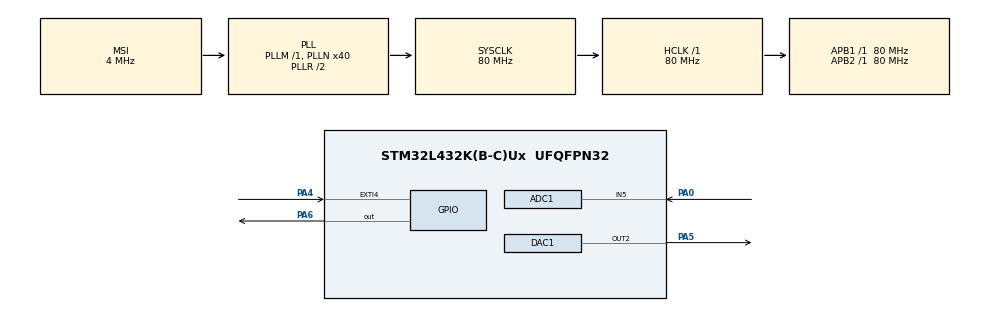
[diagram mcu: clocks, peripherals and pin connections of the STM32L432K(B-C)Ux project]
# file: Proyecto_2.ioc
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ADC1.Channel-1\#ChannelRegularConversion=ADC_CHANNEL_5
ADC1.NbrOfConversionFlag=1
ADC1.OffsetNumber-1\#ChannelRegularConversion=ADC_OFFSET_NONE
ADC1.Rank-1\#ChannelRegularConversion=1
ADC1.SamplingTime-1\#ChannelRegularConversion=ADC_SAMPLETIME_2CYCLES_5
ADC1.master=1
DAC1.DAC_Channel-DAC_OUT2=DAC_CHANNEL_2
Mcu.Family=STM32L4
Mcu.Name=STM32L432K(B-C)Ux
Mcu.Package=UFQFPN32
NVIC.EXTI4_IRQn=true\:0\:0\:false\:false\:true\:true\:true\:true
NVIC.PriorityGroup=NVIC_PRIORITYGROUP_4
NVIC.TIM1_UP_TIM16_IRQn=true\:0\:0\:false\:false\:true\:true\:true\:true
PA0.Signal=ADCx_IN5
PA4.GPIO_ModeDefaultEXTI=GPIO_MODE_IT_RISING_FALLING
PA4.GPIO_PuPd=GPIO_PULLDOWN
PA4.Signal=GPXTI4
PA5.Signal=COMP_DAC12_group
PA6.Signal=GPIO_Output
ProjectManager.HeapSize=0x200
ProjectManager.StackSize=0x400
ProjectManager.TargetToolchain=STM32CubeIDE
RCC.ADCFreq_Value=32000000
RCC.AHBFreq_Value=80000000
RCC.APB1Freq_Value=80000000
RCC.APB1TimFreq_Value=80000000
RCC.APB2Freq_Value=80000000
RCC.APB2TimFreq_Value=80000000
RCC.CortexFreq_Value=80000000
RCC.HCLKFreq_Value=80000000
RCC.HSE_VALUE=8000000
RCC.HSI48_VALUE=48000000
RCC.HSI_VALUE=16000000
RCC.LSE_VALUE=32768
RCC.MSI_VALUE=4000000
RCC.PLLN=40
RCC.PLLSAI1N=16
RCC.SYSCLKFreq_VALUE=80000000
RCC.SYSCLKSource=RCC_SYSCLKSOURCE_PLLCLK
RCC.USBFreq_Value=32000000
RCC.VCOOutputFreq_Value=160000000
SH.ADCx_IN5.0=ADC1_IN5,IN5-Single-Ended
SH.COMP_DAC12_group.0=DAC1_OUT2,DAC_OUT2
TIM1.Period=2000-1
TIM1.Prescaler=80-1
VP_TIM1_VS_ClockSourceINT.Mode=Internal
board=custom

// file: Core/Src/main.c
/* USER CODE BEGIN Header */
/**
  ******************************************************************************
  * @file           : main.c
  * @brief          : Main program body
  ******************************************************************************
  * @attention
  *
  * Copyright (c) 2024 STMicroelectronics.
  * All rights reserved.
  *
  * This software is licensed under terms that can be found in the LICENSE file
  * in the root directory of this software component.
  * If no LICENSE file comes with this software, it is provided AS-IS.
  *
  ******************************************************************************
  */
/* USER CODE END Header */
#include "main.h"

/* USER CODE BEGIN PTD */

typedef enum
{
	attack,
	decay,
	sustain,
	release,
	off
}etapas_t;

/* USER CODE END PTD */

ADC_HandleTypeDef hadc1;

DAC_HandleTypeDef hdac1;

TIM_HandleTypeDef htim1;

/* USER CODE BEGIN PV */

int var = 0;

etapas_t etapas = off;

float t_a = 1;
float t_d = 1;
float v_s = 1.5;
float t_r = 1;

float b_a = 0;
float b_d = 0;
float b_r = 0;

int Gate = 0;

float x = 0;
float y = 0;

float env = 0;
float aux = 0;
int flag = 0;

/* USER CODE END PV */

void SystemClock_Config(void);
static void MX_GPIO_Init(void);
static void MX_ADC1_Init(void);
static void MX_DAC1_Init(void);
static void MX_TIM1_Init(void);
/* USER CODE BEGIN PFP */
float generador_rectas(float, float, char);
/* USER CODE END PFP */

int main(void)
{

  /* MCU Configuration--------------------------------------------------------*/

  /* Reset of all peripherals, Initializes the Flash interface and the Systick. */
  HAL_Init();

  /* Configure the system clock */
  SystemClock_Config();

  /* Initialize all configured peripherals */
  MX_GPIO_Init();
  MX_ADC1_Init();
  MX_DAC1_Init();
  MX_TIM1_Init();
  /* USER CODE BEGIN 2 */

  //HAL_GPIO_EXTI_Callback(GPIO_PIN_4);

  	HAL_DAC_Start(&hdac1, DAC_CHANNEL_2);
  	HAL_TIM_Base_Start_IT(&htim1);

  /* USER CODE END 2 */

  /* Infinite loop */
  while (1)
  {

    /* USER CODE BEGIN 3 */

	  /*HAL_ADC_Start(&hadc1); // Inicia la conversión ADC
	  HAL_ADC_PollForConversion(&hadc1, HAL_MAX_DELAY); // Espera la conversión
	  var = HAL_ADC_GetValue(&hadc1); // Lee el valor convertido
	  HAL_ADC_Stop(&hadc1); // Detiene la conversión*/

	  switch(etapas)
	  {
	  	  case attack:

	  		  float tau_a = 1/((2.2e-6)*400e3);

	  		  if(flag == 1)
	  		  {
	  			  env = generador_rectas(tau_a, 0, 'a');
	  			  flag = 0;
	  			  HAL_DAC_SetValue(&hdac1, DAC_CHANNEL_2, DAC_ALIGN_12B_R, env*4095/3.3);
	  		  }

	  		  if(env >= 3.3)
	  		  {
	  			  etapas = decay;
	  			  x = 0;
	  			  aux = env;
	  		  }
	  		  else
	  		  {
	  			  etapas = attack;
	  		  }

	  		  break;
	  	  case decay:

	  		  float tau_d = 1/((2.2e-6)*400e3);

	  		  if(flag == 1)
	  		  {
	  			  env = generador_rectas(tau_d, aux ,'d');
	  			  flag = 0;
	  			  HAL_DAC_SetValue(&hdac1, DAC_CHANNEL_2, DAC_ALIGN_12B_R, env*4095/3.3);
	  		  }

	  		  if(env <= v_s)
	  		  {
	  			  etapas = sustain;
	  			  x = 0;
	  		  }
	  		  else
	  		  {
	  			  etapas = decay;
	  		  }

	  		  break;
	  	  case sustain:

	  		  HAL_DAC_SetValue(&hdac1, DAC_CHANNEL_2, DAC_ALIGN_12B_R, env*4095/3.3);

	  		  if(Gate == 0)
	  		  {
	  			  etapas = release;
	  			  x = 0;
	  		  }
	  		  else
	  		  {
	  			etapas = sustain;
	  		  }

	  		  break;
	  	  case release:

	  		  float tau_r = 1/((2.2e-6)*800e3);

	  		  if(flag == 1)
	  		  {
	  			  env = generador_rectas(tau_r, v_s, 'r');
	  			  flag = 0;
	  			  HAL_DAC_SetValue(&hdac1, DAC_CHANNEL_2, DAC_ALIGN_12B_R, env*4095/3.3);
	  		  }

	  		  if(env <= 0.005)
	  		  {
	  			  etapas = off;
	  			  x = 0;
	  		  }
	  		  else
	  		  {
	  			  etapas = release;
	  		  }

	  		  break;
	  	  case off:

	  		  if(Gate == 1)
	  		  {
	  			  etapas = attack;
	  			  x = 0;
	  		  }
	  		  else
	  		  {
	  			  etapas = off;
	  		  }

	  		  break;
	  }

  }
  /* USER CODE END 3 */
}

void SystemClock_Config(void)
{
  RCC_OscInitTypeDef RCC_OscInitStruct = {0};
  RCC_ClkInitTypeDef RCC_ClkInitStruct = {0};

  /** Configure the main internal regulator output voltage
  */
  if (HAL_PWREx_ControlVoltageScaling(PWR_REGULATOR_VOLTAGE_SCALE1) != HAL_OK)
  {
    Error_Handler();
  }

  /** Initializes the RCC Oscillators according to the specified parameters
  * in the RCC_OscInitTypeDef structure.
  */
  RCC_OscInitStruct.OscillatorType = RCC_OSCILLATORTYPE_MSI;
  RCC_OscInitStruct.MSIState = RCC_MSI_ON;
  RCC_OscInitStruct.MSICalibrationValue = 0;
  RCC_OscInitStruct.MSIClockRange = RCC_MSIRANGE_6;
  RCC_OscInitStruct.PLL.PLLState = RCC_PLL_ON;
  RCC_OscInitStruct.PLL.PLLSource = RCC_PLLSOURCE_MSI;
  RCC_OscInitStruct.PLL.PLLM = 1;
  RCC_OscInitStruct.PLL.PLLN = 40;
  RCC_OscInitStruct.PLL.PLLP = RCC_PLLP_DIV7;
  RCC_OscInitStruct.PLL.PLLQ = RCC_PLLQ_DIV2;
  RCC_OscInitStruct.PLL.PLLR = RCC_PLLR_DIV2;
  if (HAL_RCC_OscConfig(&RCC_OscInitStruct) != HAL_OK)
  {
    Error_Handler();
  }

  /** Initializes the CPU, AHB and APB buses clocks
  */
  RCC_ClkInitStruct.ClockType = RCC_CLOCKTYPE_HCLK|RCC_CLOCKTYPE_SYSCLK
                              |RCC_CLOCKTYPE_PCLK1|RCC_CLOCKTYPE_PCLK2;
  RCC_ClkInitStruct.SYSCLKSource = RCC_SYSCLKSOURCE_PLLCLK;
  RCC_ClkInitStruct.AHBCLKDivider = RCC_SYSCLK_DIV1;
  RCC_ClkInitStruct.APB1CLKDivider = RCC_HCLK_DIV1;
  RCC_ClkInitStruct.APB2CLKDivider = RCC_HCLK_DIV1;

  if (HAL_RCC_ClockConfig(&RCC_ClkInitStruct, FLASH_LATENCY_4) != HAL_OK)
  {
    Error_Handler();
  }
}

static void MX_ADC1_Init(void)
{

  ADC_ChannelConfTypeDef sConfig = {0};

  /** Common config
  */
  hadc1.Instance = ADC1;
  hadc1.Init.ClockPrescaler = ADC_CLOCK_ASYNC_DIV1;
  hadc1.Init.Resolution = ADC_RESOLUTION_12B;
  hadc1.Init.DataAlign = ADC_DATAALIGN_RIGHT;
  hadc1.Init.ScanConvMode = ADC_SCAN_DISABLE;
  hadc1.Init.EOCSelection = ADC_EOC_SINGLE_CONV;
  hadc1.Init.LowPowerAutoWait = DISABLE;
  hadc1.Init.ContinuousConvMode = DISABLE;
  hadc1.Init.NbrOfConversion = 1;
  hadc1.Init.DiscontinuousConvMode = DISABLE;
  hadc1.Init.ExternalTrigConv = ADC_SOFTWARE_START;
  hadc1.Init.ExternalTrigConvEdge = ADC_EXTERNALTRIGCONVEDGE_NONE;
  hadc1.Init.DMAContinuousRequests = DISABLE;
  hadc1.Init.Overrun = ADC_OVR_DATA_PRESERVED;
  hadc1.Init.OversamplingMode = DISABLE;
  if (HAL_ADC_Init(&hadc1) != HAL_OK)
  {
    Error_Handler();
  }

  /** Configure Regular Channel
  */
  sConfig.Channel = ADC_CHANNEL_5;
  sConfig.Rank = ADC_REGULAR_RANK_1;
  sConfig.SamplingTime = ADC_SAMPLETIME_2CYCLES_5;
  sConfig.SingleDiff = ADC_SINGLE_ENDED;
  sConfig.OffsetNumber = ADC_OFFSET_NONE;
  sConfig.Offset = 0;
  if (HAL_ADC_ConfigChannel(&hadc1, &sConfig) != HAL_OK)
  {
    Error_Handler();
  }

}

static void MX_DAC1_Init(void)
{

  DAC_ChannelConfTypeDef sConfig = {0};

  /** DAC Initialization
  */
  hdac1.Instance = DAC1;
  if (HAL_DAC_Init(&hdac1) != HAL_OK)
  {
    Error_Handler();
  }

  /** DAC channel OUT2 config
  */
  sConfig.DAC_SampleAndHold = DAC_SAMPLEANDHOLD_DISABLE;
  sConfig.DAC_Trigger = DAC_TRIGGER_NONE;
  sConfig.DAC_OutputBuffer = DAC_OUTPUTBUFFER_ENABLE;
  sConfig.DAC_ConnectOnChipPeripheral = DAC_CHIPCONNECT_DISABLE;
  sConfig.DAC_UserTrimming = DAC_TRIMMING_FACTORY;
  if (HAL_DAC_ConfigChannel(&hdac1, &sConfig, DAC_CHANNEL_2) != HAL_OK)
  {
    Error_Handler();
  }

}

static void MX_TIM1_Init(void)
{

  TIM_ClockConfigTypeDef sClockSourceConfig = {0};
  TIM_MasterConfigTypeDef sMasterConfig = {0};

  htim1.Instance = TIM1;
  htim1.Init.Prescaler = 80-1;
  htim1.Init.CounterMode = TIM_COUNTERMODE_UP;
  htim1.Init.Period = 2000-1;
  htim1.Init.ClockDivision = TIM_CLOCKDIVISION_DIV1;
  htim1.Init.RepetitionCounter = 0;
  htim1.Init.AutoReloadPreload = TIM_AUTORELOAD_PRELOAD_DISABLE;
  if (HAL_TIM_Base_Init(&htim1) != HAL_OK)
  {
    Error_Handler();
  }
  sClockSourceConfig.ClockSource = TIM_CLOCKSOURCE_INTERNAL;
  if (HAL_TIM_ConfigClockSource(&htim1, &sClockSourceConfig) != HAL_OK)
  {
    Error_Handler();
  }
  sMasterConfig.MasterOutputTrigger = TIM_TRGO_RESET;
  sMasterConfig.MasterOutputTrigger2 = TIM_TRGO2_RESET;
  sMasterConfig.MasterSlaveMode = TIM_MASTERSLAVEMODE_DISABLE;
  if (HAL_TIMEx_MasterConfigSynchronization(&htim1, &sMasterConfig) != HAL_OK)
  {
    Error_Handler();
  }

}

static void MX_GPIO_Init(void)
{
  GPIO_InitTypeDef GPIO_InitStruct = {0};

  /* GPIO Ports Clock Enable */
  __HAL_RCC_GPIOA_CLK_ENABLE();

  /*Configure GPIO pin Output Level */
  HAL_GPIO_WritePin(GPIOA, GPIO_PIN_6, GPIO_PIN_RESET);

  /*Configure GPIO pin : PA4 */
  GPIO_InitStruct.Pin = GPIO_PIN_4;
  GPIO_InitStruct.Mode = GPIO_MODE_IT_RISING_FALLING;
  GPIO_InitStruct.Pull = GPIO_PULLDOWN;
  HAL_GPIO_Init(GPIOA, &GPIO_InitStruct);

  /*Configure GPIO pin : PA6 */
  GPIO_InitStruct.Pin = GPIO_PIN_6;
  GPIO_InitStruct.Mode = GPIO_MODE_OUTPUT_PP;
  GPIO_InitStruct.Pull = GPIO_NOPULL;
  GPIO_InitStruct.Speed = GPIO_SPEED_FREQ_LOW;
  HAL_GPIO_Init(GPIOA, &GPIO_InitStruct);

  /* EXTI interrupt init*/
  HAL_NVIC_SetPriority(EXTI4_IRQn, 0, 0);
  HAL_NVIC_EnableIRQ(EXTI4_IRQn);

}

/* USER CODE BEGIN 4 */

float generador_rectas(float tau, float ini, char c)
{

	if(c == 'a')
	{
		y = 7.5*(1-exp(-(1/tau)*x));
	}
	else
	{
		y = ini*exp(-(1/tau)*(x));
	}

	//x += 20e-6;

	return y;
}

HAL_GPIO_EXTI_Callback(uint16_t GPIO_Pin)
{
	if (GPIO_Pin == GPIO_PIN_4)
	{
		//HAL_Delay(10);

		if(HAL_GPIO_ReadPin(GPIOA, GPIO_PIN_4) == GPIO_PIN_SET)
		{
			Gate = 1;
			HAL_GPIO_WritePin(GPIOA, GPIO_PIN_6, GPIO_PIN_SET);
		}
		else
		{
			Gate = 0;
			HAL_GPIO_WritePin(GPIOA, GPIO_PIN_6, GPIO_PIN_RESET);
		}
	}
}

void HAL_TIM_PeriodElapsedCallback(TIM_HandleTypeDef *htim)
{
    if (htim->Instance == TIM1)
    {
    	flag = 1;
        x += 0.002;
    }
}

/* USER CODE END 4 */

void Error_Handler(void)
{
  __disable_irq();
  while (1)
  {
  }
}
